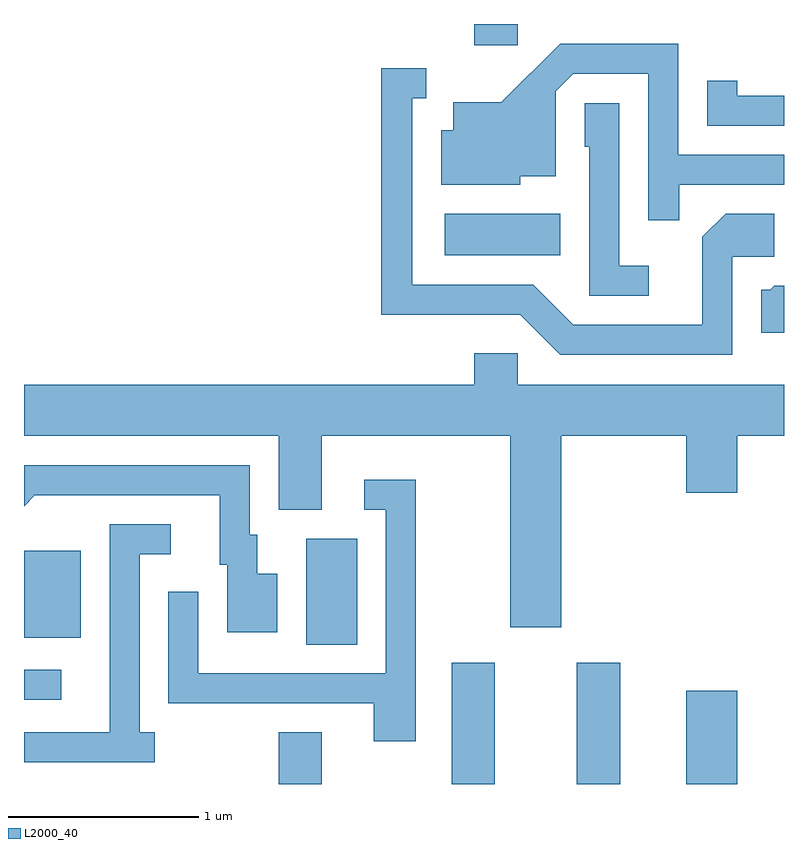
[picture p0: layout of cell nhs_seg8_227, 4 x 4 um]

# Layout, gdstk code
import gdstk
lib = gdstk.Library(unit=1e-6, precision=1e-09)
def R(c, l, rs):  # rectangles x0, y0, x1, y1
    for r in rs: c.add(gdstk.rectangle(r[:2], r[2:], *l))
def P(c, l, *ps):  # polygons
    for p in ps: c.add(gdstk.Polygon(p, *l))
L2000_40 = (2000, 40)

nhs_seg8_227 = lib.new_cell('nhs_seg8_227')
R(nhs_seg8_227, L2000_40, [(192.951,1852.342,193.179,1852.614), (193.861,1852.342,194.089,1852.979), (194.521,1852.342,194.749,1852.979), (195.096,1852.342,195.364,1852.834), (191.611,1852.786,191.808,1852.944), (193.096,1853.076,193.364,1853.634), (191.611,1853.111,191.909,1853.569), (193.826,1855.126,194.434,1855.344), (193.981,1856.231,194.209,1856.342)])
P(nhs_seg8_227, L2000_40, [(195.059,1855.496),(195.611,1855.496),(195.611,1855.654),(195.054,1855.654),(195.054,1856.239),(194.434,1856.239),(194.124,1855.929),(193.871,1855.929),(193.871,1855.784),(193.806,1855.784),(193.806,1855.496),(194.224,1855.496),(194.224,1855.541),(194.409,1855.541),(194.409,1855.989),(194.502,1856.081),(194.896,1856.081),(194.896,1855.308),(195.059,1855.308)],
  [(195.339,1855.116),(195.559,1855.116),(195.559,1855.344),(195.304,1855.344),(195.181,1855.222),(195.181,1854.759),(194.502,1854.759),(194.292,1854.969),(193.654,1854.969),(193.654,1855.951),(193.728,1855.951),(193.728,1856.109),(193.491,1856.109),(193.491,1854.811),(194.224,1854.811),(194.434,1854.601),(195.339,1854.601)],
  [(195.611,1855.964),(195.364,1855.964),(195.364,1856.043),(195.206,1856.043),(195.206,1855.806),(195.611,1855.806)],
  [(194.898,1855.069),(194.744,1855.069),(194.744,1855.924),(194.561,1855.924),(194.561,1855.696),(194.586,1855.696),(194.586,1854.911),(194.898,1854.911)],
  [(195.611,1854.964),(195.559,1854.964),(195.539,1854.944),(195.491,1854.944),(195.491,1854.716),(195.611,1854.716)],
  [(194.439,1854.176),(195.096,1854.176),(195.096,1853.876),(195.364,1853.876),(195.364,1854.176),(195.611,1854.176),(195.611,1854.444),(194.209,1854.444),(194.209,1854.609),(193.981,1854.609),(193.981,1854.444),(191.611,1854.444),(191.611,1854.176),(192.951,1854.176),(192.951,1853.786),(193.179,1853.786),(193.179,1854.176),(194.171,1854.176),(194.171,1853.166),(194.439,1853.166)],
  [(192.944,1853.449),(192.839,1853.449),(192.839,1853.654),(192.799,1853.654),(192.799,1854.019),(191.611,1854.019),(191.611,1853.805),(191.667,1853.861),(192.641,1853.861),(192.641,1853.496),(192.681,1853.496),(192.681,1853.141),(192.944,1853.141)],
  [(193.674,1853.944),(193.403,1853.944),(193.403,1853.786),(193.516,1853.786),(193.516,1852.924),(192.529,1852.924),(192.529,1853.353),(192.371,1853.353),(192.371,1852.766),(193.451,1852.766),(193.451,1852.566),(193.674,1852.566)],
  [(192.298,1852.614),(192.219,1852.614),(192.219,1853.551),(192.383,1853.551),(192.383,1853.709),(192.061,1853.709),(192.061,1852.614),(191.611,1852.614),(191.611,1852.456),(192.298,1852.456)])

lib.write_gds('nhs_seg8_227.gds')
